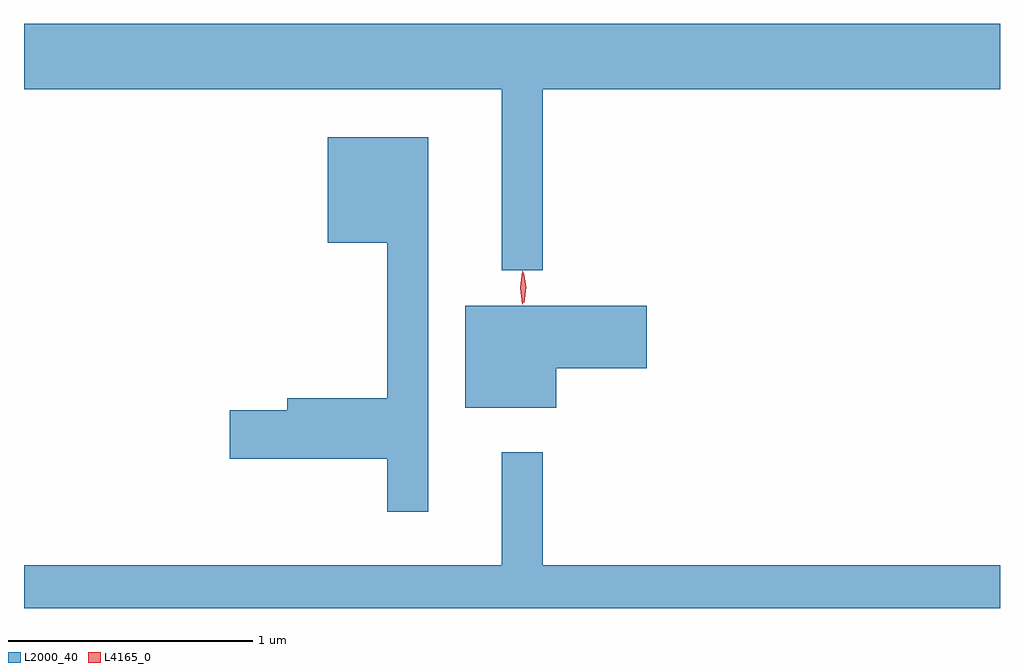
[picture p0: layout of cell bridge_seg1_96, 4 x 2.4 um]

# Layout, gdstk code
import gdstk
lib = gdstk.Library(unit=1e-6, precision=1e-09)
def P(c, l, *ps):  # polygons
    for p in ps: c.add(gdstk.Polygon(p, *l))
L2000_40 = (2000, 40)
L4165_0 = (4165, 0)

bridge_seg1_96 = lib.new_cell('bridge_seg1_96')
P(bridge_seg1_96, L2000_40, [(1259.949,879.596),(1261.822,879.596),(1261.822,879.864),(1257.822,879.864),(1257.822,879.596),(1259.781,879.596),(1259.781,878.853),(1259.949,878.853)],
  [(1259.479,879.399),(1259.066,879.399),(1259.066,878.966),(1259.311,878.966),(1259.311,878.329),(1258.901,878.329),(1258.901,878.279),(1258.666,878.279),(1258.666,878.081),(1259.311,878.081),(1259.311,877.863),(1259.479,877.863)],
  [(1260.004,878.451),(1260.374,878.451),(1260.374,878.709),(1259.631,878.709),(1259.631,878.291),(1260.004,878.291)],
  [(1261.822,877.644),(1259.949,877.644),(1259.949,878.108),(1259.781,878.108),(1259.781,877.644),(1257.822,877.644),(1257.822,877.468),(1261.822,877.468)])
P(bridge_seg1_96, L4165_0, [(1259.865,878.714),(1259.856,878.782),(1259.864,878.85),(1259.865,878.85),(1259.866,878.85),(1259.875,878.782),(1259.866,878.714),(1259.866,878.714)],
  [(1259.871,878.72),(1259.871,878.721),(1259.861,878.783),(1259.87,878.846),(1259.87,878.847),(1259.871,878.846),(1259.881,878.784),(1259.872,878.721)])

lib.write_gds('bridge_seg1_96.gds')
